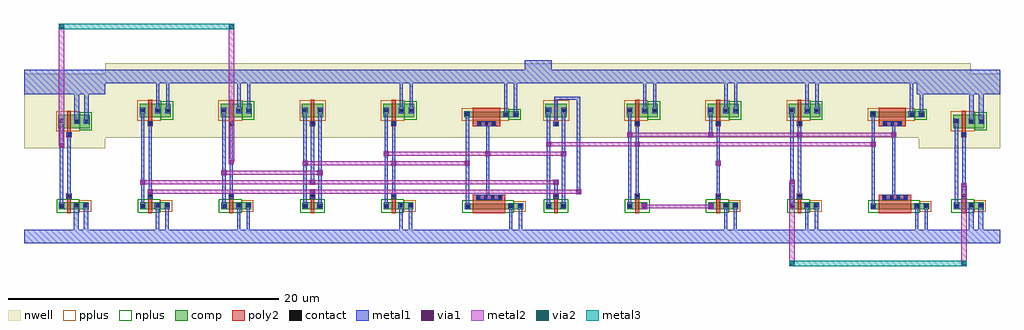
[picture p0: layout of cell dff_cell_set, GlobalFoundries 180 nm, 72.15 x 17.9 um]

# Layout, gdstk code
import gdstk
lib = gdstk.Library(unit=1e-6, precision=1e-09)
def R(c, l, rs):  # rectangles x0, y0, x1, y1
    for r in rs: c.add(gdstk.rectangle(r[:2], r[2:], *l))
def A(c, l, x, y, w, h, nx, ny, dx, dy):  # array of equal rectangles
    R(c, l, [(x+i*dx, y+j*dy, x+i*dx+w, y+j*dy+h) for i in range(nx) for j in range(ny)])
nwell = (21, 0)
comp = (22, 0)
poly2 = (30, 0)
pplus = (31, 0)
nplus = (32, 0)
contact = (33, 0)
metal1 = (34, 0)
via1 = (35, 0)
metal2 = (36, 0)
via2 = (38, 0)
metal3 = (42, 0)

gf180mcu_nfet_l_0_280_w_ = lib.new_cell('gf180mcu.nfet(L=0.280,W=0.500)')

c_gf180mcu_nfet_l_0_280_w_ = lib.new_cell('gf180mcu.nfet(L=0.280,W=1.000)')

gf180mcu_pfet_l_0_280_w_ = lib.new_cell('gf180mcu.pfet(L=0.280,W=1.000)')

c_gf180mcu_pfet_l_0_280_w_ = lib.new_cell('gf180mcu.pfet(L=0.280,W=2.000)')

dff_cell_set = lib.new_cell('dff_cell_set')
A(dff_cell_set, nwell, 43.85, 6.11, 3.69, 2.38, 3, 1, 6, 0)
R(dff_cell_set, nwell, [(0,4.5,6,10), (0,4.5,6,10), (0,4.5,6,10), (66.15,4.5,72.15,10), (66.15,4.5,72.15,10), (66.15,4.5,72.15,10), (6,5.3,70,10.8), (1.85,5.31,5.54,7.69), (1.85,5.31,5.54,7.69), (1.85,5.31,5.54,7.69), (68,5.31,71.69,7.69), (68,5.31,71.69,7.69), (68,5.31,71.69,7.69), (31.84,6.09,37.27,7.93), (61.84,6.09,67.27,7.93), (7.85,6.11,11.54,8.49), (13.85,6.11,17.54,8.49), (25.85,6.11,29.54,8.49), (20.1,6.36,22.56,8.24), (38.1,6.36,40.56,8.24)])
A(dff_cell_set, comp, 3, 0, 0.66, 0.5, 5, 1, 6, 0)
A(dff_cell_set, comp, 4.08, 0, 0.71, 0.5, 3, 1, 6, 0)
A(dff_cell_set, comp, 39, 0, 0.66, 0.5, 4, 1, 6, 0)
A(dff_cell_set, comp, 9, 6.8, 0.66, 1, 4, 1, 6, 0)
A(dff_cell_set, comp, 39, 6.8, 0.66, 1, 4, 1, 6, 0)
A(dff_cell_set, comp, 46.12, 6.8, 0.73, 1, 3, 1, 6, 0)
R(dff_cell_set, comp, [(32.58,-0.01,33,0.43), (35.78,-0.01,36.2,0.43), (36.2,-0.01,36.91,0.43), (62.58,-0.01,63,0.43), (65.78,-0.01,66.2,0.43), (66.2,-0.01,66.91,0.43), (2.58,0,3,0.5), (2.58,0,3,0.5), (2.58,0,3,0.5), (3,0,3.66,0.5), (3,0,3.66,0.5), (3.66,0,4.08,0.5), (3.66,0,4.08,0.5), (3.66,0,4.08,0.5), (4.08,0,4.79,0.5), (4.08,0,4.79,0.5), (8.58,0,9,0.5), (9.66,0,10.08,0.5), (14.58,0,15,0.5), (15.66,0,16.08,0.5), (20.58,0,21,0.5), (21.66,0,22.08,0.5), (26.58,0,27,0.5), (27.66,0,28.08,0.5), (28.08,0,28.79,0.5), (33,0,35.78,0.42), (38.58,0,39,0.5), (39.66,0,40.08,0.5), (44.58,0,45,0.5), (45.66,0,46.08,0.5), (50.58,0,51,0.5), (51.66,0,52.08,0.5), (52.08,0,52.79,0.5), (56.58,0,57,0.5), (57.66,0,58.08,0.5), (58.08,0,58.79,0.5), (63,0,65.78,0.42), (68.73,0,69.15,0.5), (68.73,0,69.15,0.5), (68.73,0,69.15,0.5), (69.15,0,69.81,0.5), (69.15,0,69.81,0.5), (69.15,0,69.81,0.5), (69.81,0,70.23,0.5), (69.81,0,70.23,0.5), (69.81,0,70.23,0.5), (70.23,0,70.94,0.5), (70.23,0,70.94,0.5), (70.23,0,70.94,0.5), (2.54,6,3,7), (2.54,6,3,7), (2.54,6,3,7), (3,6,3.66,7), (3,6,3.66,7), (3,6,3.66,7), (3.66,6,4.12,7), (3.66,6,4.12,7), (3.66,6,4.12,7), (4.12,6,4.85,7), (4.12,6,4.85,7), (4.12,6,4.85,7), (68.69,6,69.15,7), (68.69,6,69.15,7), (68.69,6,69.15,7), (69.15,6,69.81,7), (69.15,6,69.81,7), (69.15,6,69.81,7), (69.81,6,70.27,7), (69.81,6,70.27,7), (69.81,6,70.27,7), (70.27,6,71,7), (70.27,6,71,7), (70.27,6,71,7), (32.54,6.79,33,7.23), (35.38,6.79,35.84,7.23), (35.84,6.79,36.57,7.23), (62.54,6.79,63,7.23), (65.38,6.79,65.84,7.23), (65.84,6.79,66.57,7.23), (8.54,6.8,9,7.8), (9.66,6.8,10.12,7.8), (10.12,6.8,10.85,7.8), (14.54,6.8,15,7.8), (15.66,6.8,16.12,7.8), (16.12,6.8,16.85,7.8), (20.54,6.8,21,7.8), (21.66,6.8,22.12,7.8), (26.54,6.8,27,7.8), (27.66,6.8,28.12,7.8), (28.12,6.8,28.85,7.8), (33,6.8,35.38,7.22), (38.54,6.8,39,7.8), (39.66,6.8,40.12,7.8), (44.54,6.8,45,7.8), (45.66,6.8,46.12,7.8), (50.54,6.8,51,7.8), (51.66,6.8,52.12,7.8), (56.54,6.8,57,7.8), (57.66,6.8,58.12,7.8), (63,6.8,65.38,7.22)])
A(dff_cell_set, poly2, 3.19, -0.3, 0.28, 1.1, 5, 1, 6, 0)
A(dff_cell_set, poly2, 39.19, -0.3, 0.28, 1.1, 4, 1, 6, 0)
A(dff_cell_set, poly2, 3.15, 0.8, 0.36, 0.36, 5, 1, 6, 0)
A(dff_cell_set, poly2, 39.15, 0.8, 0.36, 0.36, 4, 1, 6, 0)
A(dff_cell_set, poly2, 9.14, 6.12, 0.38, 0.38, 4, 1, 6, 0)
A(dff_cell_set, poly2, 39.14, 6.12, 0.38, 0.38, 4, 1, 6, 0)
A(dff_cell_set, poly2, 9.19, 6.5, 0.28, 1.6, 4, 1, 6, 0)
A(dff_cell_set, poly2, 39.19, 6.5, 0.28, 1.6, 4, 1, 6, 0)
R(dff_cell_set, poly2, [(3.19,-0.3,3.47,0.8), (3.19,-0.3,3.47,0.8), (33.19,-0.3,35.59,0.72), (63.19,-0.3,65.59,0.72), (69.34,-0.3,69.62,0.8), (69.34,-0.3,69.62,0.8), (69.34,-0.3,69.62,0.8), (33.19,0.72,35.59,1.08), (63.19,0.72,65.59,1.08), (3.15,0.8,3.51,1.16), (3.15,0.8,3.51,1.16), (69.3,0.8,69.66,1.16), (69.3,0.8,69.66,1.16), (69.3,0.8,69.66,1.16), (3.14,5.32,3.52,5.7), (3.14,5.32,3.52,5.7), (3.14,5.32,3.52,5.7), (69.29,5.32,69.67,5.7), (69.29,5.32,69.67,5.7), (69.29,5.32,69.67,5.7), (3.19,5.7,3.47,7.3), (3.19,5.7,3.47,7.3), (3.19,5.7,3.47,7.3), (69.34,5.7,69.62,7.3), (69.34,5.7,69.62,7.3), (69.34,5.7,69.62,7.3), (33.19,6.12,35.19,6.5), (63.19,6.12,65.19,6.5), (33.19,6.5,35.19,7.52), (63.19,6.5,65.19,7.52)])
A(dff_cell_set, pplus, 4.08, -0.17, 0.88, 0.84, 3, 1, 6, 0)
A(dff_cell_set, pplus, 44.37, 6.56, 1.75, 1.48, 3, 1, 6, 0)
R(dff_cell_set, pplus, [(4.08,-0.17,4.96,0.67), (4.08,-0.17,4.96,0.67), (28.08,-0.17,28.96,0.67), (36.2,-0.17,37.08,0.59), (52.08,-0.17,52.96,0.67), (58.08,-0.17,58.96,0.67), (66.2,-0.17,67.08,0.59), (70.23,-0.17,71.11,0.67), (70.23,-0.17,71.11,0.67), (70.23,-0.17,71.11,0.67), (2.37,5.76,4.12,7.24), (2.37,5.76,4.12,7.24), (2.37,5.76,4.12,7.24), (68.52,5.76,70.27,7.24), (68.52,5.76,70.27,7.24), (68.52,5.76,70.27,7.24), (32.37,6.55,35.84,7.47), (62.37,6.55,65.84,7.47), (8.37,6.56,10.12,8.04), (14.37,6.56,16.12,8.04), (20.37,6.56,22.29,8.04), (26.37,6.56,28.12,8.04), (38.37,6.56,40.29,8.04)])
A(dff_cell_set, nplus, 2.41, -0.24, 1.67, 0.98, 3, 1, 6, 0)
A(dff_cell_set, nplus, 46.12, 6.63, 0.9, 1.34, 3, 1, 6, 0)
R(dff_cell_set, nplus, [(32.41,-0.25,36.2,0.67), (62.41,-0.25,66.2,0.67), (2.41,-0.24,4.08,0.74), (2.41,-0.24,4.08,0.74), (20.41,-0.24,22.25,0.74), (26.41,-0.24,28.08,0.74), (38.41,-0.24,40.25,0.74), (44.41,-0.24,46.25,0.74), (50.41,-0.24,52.08,0.74), (56.41,-0.24,58.08,0.74), (68.56,-0.24,70.23,0.74), (68.56,-0.24,70.23,0.74), (68.56,-0.24,70.23,0.74), (4.12,5.83,5.02,7.17), (4.12,5.83,5.02,7.17), (4.12,5.83,5.02,7.17), (70.27,5.83,71.17,7.17), (70.27,5.83,71.17,7.17), (70.27,5.83,71.17,7.17), (10.12,6.63,11.02,7.97), (16.12,6.63,17.02,7.97), (28.12,6.63,29.02,7.97), (35.84,6.63,36.74,7.39), (65.84,6.63,66.74,7.39)])
A(dff_cell_set, contact, 33.515, 0.79, 0.22, 0.22, 4, 1, 0.51, 0)
A(dff_cell_set, contact, 63.515, 0.79, 0.22, 0.22, 4, 1, 0.51, 0)
A(dff_cell_set, contact, 3.22, 0.87, 0.22, 0.22, 5, 1, 6, 0)
A(dff_cell_set, contact, 39.22, 0.87, 0.22, 0.22, 4, 2, 6, 5.33)
A(dff_cell_set, contact, 9.22, 6.2, 0.22, 0.22, 4, 1, 6, 0)
A(dff_cell_set, contact, 33.57, 6.2, 0.22, 0.22, 3, 1, 0.51, 0)
A(dff_cell_set, contact, 63.57, 6.2, 0.22, 0.22, 3, 1, 0.51, 0)
R(dff_cell_set, contact, [(32.68,0.1,32.9,0.32), (35.88,0.1,36.1,0.32), (36.59,0.1,36.81,0.32), (62.68,0.1,62.9,0.32), (65.88,0.1,66.1,0.32), (66.59,0.1,66.81,0.32), (2.68,0.14,2.9,0.36), (2.68,0.14,2.9,0.36), (2.68,0.14,2.9,0.36), (3.76,0.14,3.98,0.36), (3.76,0.14,3.98,0.36), (3.76,0.14,3.98,0.36), (4.47,0.14,4.69,0.36), (4.47,0.14,4.69,0.36), (4.47,0.14,4.69,0.36), (8.68,0.14,8.9,0.36), (9.76,0.14,9.98,0.36), (10.47,0.14,10.69,0.36), (14.68,0.14,14.9,0.36), (15.76,0.14,15.98,0.36), (16.47,0.14,16.69,0.36), (20.68,0.14,20.9,0.36), (21.76,0.14,21.98,0.36), (26.68,0.14,26.9,0.36), (27.76,0.14,27.98,0.36), (28.47,0.14,28.69,0.36), (38.68,0.14,38.9,0.36), (39.76,0.14,39.98,0.36), (44.68,0.14,44.9,0.36), (45.76,0.14,45.98,0.36), (50.68,0.14,50.9,0.36), (51.76,0.14,51.98,0.36), (52.47,0.14,52.69,0.36), (56.68,0.14,56.9,0.36), (57.76,0.14,57.98,0.36), (58.47,0.14,58.69,0.36), (68.83,0.14,69.05,0.36), (68.83,0.14,69.05,0.36), (68.83,0.14,69.05,0.36), (69.91,0.14,70.13,0.36), (69.91,0.14,70.13,0.36), (69.91,0.14,70.13,0.36), (70.62,0.14,70.84,0.36), (70.62,0.14,70.84,0.36), (70.62,0.14,70.84,0.36), (3.22,0.87,3.44,1.09), (3.22,0.87,3.44,1.09), (69.37,0.87,69.59,1.09), (69.37,0.87,69.59,1.09), (69.37,0.87,69.59,1.09), (3.22,5.4,3.44,5.62), (3.22,5.4,3.44,5.62), (3.22,5.4,3.44,5.62), (69.37,5.4,69.59,5.62), (69.37,5.4,69.59,5.62), (69.37,5.4,69.59,5.62), (2.66,6.39,2.88,6.61), (2.66,6.39,2.88,6.61), (2.66,6.39,2.88,6.61), (3.78,6.39,4,6.61), (3.78,6.39,4,6.61), (3.78,6.39,4,6.61), (4.51,6.39,4.73,6.61), (4.51,6.39,4.73,6.61), (4.51,6.39,4.73,6.61), (68.81,6.39,69.03,6.61), (68.81,6.39,69.03,6.61), (68.81,6.39,69.03,6.61), (69.93,6.39,70.15,6.61), (69.93,6.39,70.15,6.61), (69.93,6.39,70.15,6.61), (70.66,6.39,70.88,6.61), (70.66,6.39,70.88,6.61), (70.66,6.39,70.88,6.61), (32.66,6.9,32.88,7.12), (35.5,6.9,35.72,7.12), (36.23,6.9,36.45,7.12), (62.66,6.9,62.88,7.12), (65.5,6.9,65.72,7.12), (66.23,6.9,66.45,7.12), (8.66,7.19,8.88,7.41), (9.78,7.19,10,7.41), (10.51,7.19,10.73,7.41), (14.66,7.19,14.88,7.41), (15.78,7.19,16,7.41), (16.51,7.19,16.73,7.41), (20.66,7.19,20.88,7.41), (21.78,7.19,22,7.41), (26.66,7.19,26.88,7.41), (27.78,7.19,28,7.41), (28.51,7.19,28.73,7.41), (38.66,7.19,38.88,7.41), (39.78,7.19,40,7.41), (44.66,7.19,44.88,7.41), (45.78,7.19,46,7.41), (46.51,7.19,46.73,7.41), (50.66,7.19,50.88,7.41), (51.78,7.19,52,7.41), (52.51,7.19,52.73,7.41), (56.66,7.19,56.88,7.41), (57.78,7.19,58,7.41), (58.51,7.19,58.73,7.41)])
A(dff_cell_set, metal1, 8.66, 0.25, 0.24, 7.05, 3, 1, 6, 0)
A(dff_cell_set, metal1, 3.14, 0.79, 0.38, 0.38, 5, 1, 6, 0)
A(dff_cell_set, metal1, 39.14, 0.79, 0.38, 0.38, 4, 2, 6, 5.33)
A(dff_cell_set, metal1, 9.14, 6.12, 0.38, 0.38, 4, 1, 6, 0)
R(dff_cell_set, metal1, [(0,-2.5,72.15,-1.5), (0,-2.5,6,-1.5), (0,-2.5,6,-1.5), (0,-2.5,6,-1.5), (3.69,-2.5,4.05,0.25), (3.69,-2.5,4.05,0.25), (3.69,-2.5,4.05,0.25), (4.4,-2.5,4.76,0.25), (4.4,-2.5,4.76,0.25), (4.4,-2.5,4.76,0.25), (6,-2.5,70,-1.5), (9.75,-2.5,9.99,0.25), (10.46,-2.5,10.7,0.25), (15.75,-2.5,15.99,0.25), (16.46,-2.5,16.7,0.25), (27.75,-2.5,27.99,0.25), (28.46,-2.5,28.7,0.25), (35.87,-2.5,36.11,0.21), (36.58,-2.5,36.82,0.21), (51.75,-2.5,51.99,0.25), (52.46,-2.5,52.7,0.25), (57.75,-2.5,57.99,0.25), (58.46,-2.5,58.7,0.25), (65.87,-2.5,66.11,0.21), (66.15,-2.5,72.15,-1.5), (66.15,-2.5,72.15,-1.5), (66.15,-2.5,72.15,-1.5), (66.58,-2.5,66.82,0.21), (69.84,-2.5,70.2,0.25), (69.84,-2.5,70.2,0.25), (69.84,-2.5,70.2,0.25), (70.55,-2.5,70.91,0.25), (70.55,-2.5,70.91,0.25), (70.55,-2.5,70.91,0.25), (45.68,0.01,46.06,0.39), (50.6,0.01,50.98,0.39), (32.6,0.02,32.98,0.4), (35.8,0.02,36.18,0.4), (36.51,0.02,36.89,0.4), (62.6,0.02,62.98,0.4), (65.8,0.02,66.18,0.4), (66.51,0.02,66.89,0.4), (2.6,0.06,2.98,0.44), (2.6,0.06,2.98,0.44), (2.6,0.06,2.98,0.44), (3.68,0.06,4.06,0.44), (3.68,0.06,4.06,0.44), (3.68,0.06,4.06,0.44), (4.39,0.06,4.77,0.44), (4.39,0.06,4.77,0.44), (4.39,0.06,4.77,0.44), (8.6,0.06,8.98,0.44), (9.68,0.06,10.06,0.44), (10.39,0.06,10.77,0.44), (14.6,0.06,14.98,0.44), (15.68,0.06,16.06,0.44), (16.39,0.06,16.77,0.44), (20.6,0.06,20.98,0.44), (21.68,0.06,22.06,0.44), (26.6,0.06,26.98,0.44), (27.68,0.06,28.06,0.44), (28.39,0.06,28.77,0.44), (38.6,0.06,38.98,0.44), (39.68,0.06,40.06,0.44), (44.6,0.06,44.98,0.44), (45.68,0.06,46.06,0.44), (50.6,0.06,50.98,0.44), (51.68,0.06,52.06,0.44), (52.39,0.06,52.77,0.44), (56.6,0.06,56.98,0.44), (57.68,0.06,58.06,0.44), (58.39,0.06,58.77,0.44), (68.75,0.06,69.13,0.44), (68.75,0.06,69.13,0.44), (68.75,0.06,69.13,0.44), (69.83,0.06,70.21,0.44), (69.83,0.06,70.21,0.44), (69.83,0.06,70.21,0.44), (70.54,0.06,70.92,0.44), (70.54,0.06,70.92,0.44), (70.54,0.06,70.92,0.44), (2.64,0.12,2.9,6.63), (2.64,0.12,2.9,6.63), (2.64,0.12,2.9,6.63), (68.79,0.12,69.05,6.63), (68.79,0.12,69.05,6.63), (68.79,0.12,69.05,6.63), (45.75,0.2,45.99,0.25), (50.67,0.2,50.91,0.25), (32.66,0.21,32.9,7.01), (62.66,0.21,62.9,7.01), (21.76,0.25,22,7.3), (26.66,0.25,26.9,7.3), (38.66,0.25,38.9,7.3), (39.76,0.25,40,7.3), (44.66,0.25,44.9,7.3), (56.66,0.25,56.9,7.3), (33.435,0.71,35.345,1.09), (63.435,0.71,65.345,1.09), (3.14,0.79,3.52,1.17), (3.14,0.79,3.52,1.17), (69.29,0.79,69.67,1.17), (69.29,0.79,69.67,1.17), (69.29,0.79,69.67,1.17), (3.2,0.85,3.46,5.64), (3.2,0.85,3.46,5.64), (3.2,0.85,3.46,5.64), (69.35,0.85,69.61,5.64), (69.35,0.85,69.61,5.64), (69.35,0.85,69.61,5.64), (34.17,0.9,34.41,6.31), (64.17,0.9,64.41,6.31), (9.21,0.98,9.45,6.31), (15.21,0.98,15.45,6.31), (21.21,0.98,21.45,1.3), (27.21,0.98,27.45,6.31), (39.21,0.98,39.45,2), (45.21,0.98,45.45,4.8), (51.21,0.98,51.45,3.4), (57.21,0.98,57.45,6.31), (9.14,1.11,9.52,1.49), (21.14,1.11,21.52,1.49), (40.81,1.11,41.19,1.49), (40.88,1.3,41.12,8.32), (69.29,1.56,69.67,1.94), (8.59,1.81,8.97,2.19), (21.14,1.81,21.52,2.19), (39.14,1.81,39.52,2.19), (56.59,1.81,56.97,2.19), (21.21,2,21.45,6.31), (14.59,2.51,14.97,2.89), (21.69,2.51,22.07,2.89), (20.59,3.21,20.97,3.59), (27.14,3.21,27.52,3.59), (32.59,3.21,32.97,3.59), (51.14,3.21,51.52,3.59), (51.14,3.21,51.52,3.59), (15.14,3.31,15.52,3.69), (51.21,3.4,51.45,6.31), (26.59,3.91,26.97,4.29), (34.1,3.91,34.48,4.29), (39.69,3.91,40.07,4.29), (2.59,4.56,2.97,4.94), (38.59,4.61,38.97,4.99), (45.14,4.61,45.52,4.99), (45.14,4.61,45.52,4.99), (62.59,4.61,62.97,4.99), (45.21,4.8,45.45,6.31), (44.59,5.31,44.97,5.69), (50.58,5.31,50.96,5.69), (57.14,5.31,57.52,5.69), (64.1,5.31,64.48,5.69), (3.14,5.32,3.52,5.7), (3.14,5.32,3.52,5.7), (3.14,5.32,3.52,5.7), (69.29,5.32,69.67,5.7), (69.29,5.32,69.67,5.7), (69.29,5.32,69.67,5.7), (50.65,5.5,50.89,7.3), (33.49,6.12,34.89,6.5), (63.49,6.12,64.89,6.5), (2.58,6.31,2.96,6.69), (2.58,6.31,2.96,6.69), (2.58,6.31,2.96,6.69), (3.7,6.31,4.08,6.69), (3.7,6.31,4.08,6.69), (3.7,6.31,4.08,6.69), (4.43,6.31,4.81,6.69), (4.43,6.31,4.81,6.69), (4.43,6.31,4.81,6.69), (39.21,6.31,39.45,8.32), (68.73,6.31,69.11,6.69), (68.73,6.31,69.11,6.69), (68.73,6.31,69.11,6.69), (69.85,6.31,70.23,6.69), (69.85,6.31,70.23,6.69), (69.85,6.31,70.23,6.69), (70.58,6.31,70.96,6.69), (70.58,6.31,70.96,6.69), (70.58,6.31,70.96,6.69), (3.71,6.5,4.07,9.5), (3.71,6.5,4.07,9.5), (3.71,6.5,4.07,9.5), (4.44,6.5,4.8,9.5), (4.44,6.5,4.8,9.5), (4.44,6.5,4.8,9.5), (69.86,6.5,70.22,9.5), (69.86,6.5,70.22,9.5), (69.86,6.5,70.22,9.5), (70.59,6.5,70.95,9.5), (70.59,6.5,70.95,9.5), (70.59,6.5,70.95,9.5), (32.58,6.82,32.96,7.2), (35.42,6.82,35.8,7.2), (36.15,6.82,36.53,7.2), (62.58,6.82,62.96,7.2), (65.42,6.82,65.8,7.2), (66.15,6.82,66.53,7.2), (35.49,7.01,35.73,10.3), (36.22,7.01,36.46,10.3), (65.49,7.01,65.73,10.3), (66.22,7.01,66.46,10.3), (8.58,7.11,8.96,7.49), (9.7,7.11,10.08,7.49), (10.43,7.11,10.81,7.49), (14.58,7.11,14.96,7.49), (15.7,7.11,16.08,7.49), (16.43,7.11,16.81,7.49), (20.58,7.11,20.96,7.49), (21.7,7.11,22.08,7.49), (26.58,7.11,26.96,7.49), (27.7,7.11,28.08,7.49), (28.43,7.11,28.81,7.49), (38.58,7.11,38.96,7.49), (39.7,7.11,40.08,7.49), (44.58,7.11,44.96,7.49), (45.7,7.11,46.08,7.49), (46.43,7.11,46.81,7.49), (50.58,7.11,50.96,7.49), (51.7,7.11,52.08,7.49), (52.43,7.11,52.81,7.49), (56.58,7.11,56.96,7.49), (57.7,7.11,58.08,7.49), (58.43,7.11,58.81,7.49), (9.77,7.3,10.01,10.3), (10.5,7.3,10.74,10.3), (15.77,7.3,16.01,10.3), (16.5,7.3,16.74,10.3), (27.77,7.3,28.01,10.3), (28.5,7.3,28.74,10.3), (45.77,7.3,46.01,10.3), (46.5,7.3,46.74,10.3), (51.77,7.3,52.01,10.3), (52.5,7.3,52.74,10.3), (57.77,7.3,58.01,10.3), (58.5,7.3,58.74,10.3), (39.21,8.08,41.12,8.32), (0,8.5,6,9.5), (0,8.5,6,9.5), (0,8.5,6,9.5), (0,8.5,6,10.3), (66,8.5,72.15,10.3), (66.15,8.5,72.15,9.5), (66.15,8.5,72.15,9.5), (66.15,8.5,72.15,9.5), (6,9.3,66,10.3), (6,9.3,70,10.3), (37,9.3,39,11)])
R(dff_cell_set, via1, [(45.74,0.07,46,0.33), (50.66,0.07,50.92,0.33), (9.2,1.17,9.46,1.43), (21.2,1.17,21.46,1.43), (40.87,1.17,41.13,1.43), (69.35,1.62,69.61,1.88), (8.65,1.87,8.91,2.13), (21.2,1.87,21.46,2.13), (39.2,1.87,39.46,2.13), (56.65,1.87,56.91,2.13), (14.65,2.57,14.91,2.83), (21.75,2.57,22.01,2.83), (20.65,3.27,20.91,3.53), (27.2,3.27,27.46,3.53), (32.65,3.27,32.91,3.53), (51.2,3.27,51.46,3.53), (51.2,3.27,51.46,3.53), (15.2,3.37,15.46,3.63), (26.65,3.97,26.91,4.23), (34.16,3.97,34.42,4.23), (39.75,3.97,40.01,4.23), (2.65,4.62,2.91,4.88), (38.65,4.67,38.91,4.93), (45.2,4.67,45.46,4.93), (45.2,4.67,45.46,4.93), (62.65,4.67,62.91,4.93), (44.65,5.37,44.91,5.63), (50.64,5.37,50.9,5.63), (57.2,5.37,57.46,5.63), (64.16,5.37,64.42,5.63)])
R(dff_cell_set, metal2, [(56.58,-4.2,56.98,-3.8), (69.28,-4.2,69.68,-3.8), (56.58,-4,56.98,2), (69.28,-4,69.68,1.75), (45.68,0.01,46.06,0.39), (50.6,0.01,50.98,0.39), (45.68,0.06,50.98,0.34), (9.14,1.11,9.52,1.49), (21.14,1.11,21.52,1.49), (40.81,1.11,41.19,1.49), (9.14,1.16,41.19,1.44), (69.29,1.56,69.67,1.94), (8.59,1.81,8.97,2.19), (21.14,1.81,21.52,2.19), (39.14,1.81,39.52,2.19), (56.59,1.81,56.97,2.19), (8.59,1.86,39.52,2.14), (14.59,2.51,14.97,2.89), (21.69,2.51,22.07,2.89), (14.59,2.56,22.07,2.84), (20.59,3.21,20.97,3.59), (27.14,3.21,27.52,3.59), (32.59,3.21,32.97,3.59), (51.14,3.21,51.52,3.59), (51.14,3.21,51.52,3.59), (20.59,3.26,32.97,3.54), (51.14,3.26,51.52,3.54), (15.14,3.31,15.52,3.69), (15.13,3.5,15.53,13.5), (26.59,3.91,26.97,4.29), (34.1,3.91,34.48,4.29), (39.69,3.91,40.07,4.29), (26.59,3.96,40.07,4.24), (2.59,4.56,2.97,4.94), (38.59,4.61,38.97,4.99), (45.14,4.61,45.52,4.99), (45.14,4.61,45.52,4.99), (62.59,4.61,62.97,4.99), (38.59,4.66,62.97,4.94), (2.58,4.75,2.98,13.5), (44.59,5.31,44.97,5.69), (50.58,5.31,50.96,5.69), (57.14,5.31,57.52,5.69), (64.1,5.31,64.48,5.69), (44.59,5.36,64.48,5.64), (2.58,13.3,2.98,13.7), (15.13,13.3,15.53,13.7)])
R(dff_cell_set, via2, [(56.65,-4.13,56.91,-3.87), (69.35,-4.13,69.61,-3.87), (2.65,13.37,2.91,13.63), (15.2,13.37,15.46,13.63)])
R(dff_cell_set, metal3, [(56.58,-4.2,56.98,-3.8), (56.58,-4.2,69.68,-3.8), (69.28,-4.2,69.68,-3.8), (2.58,13.3,2.98,13.7), (2.58,13.3,15.53,13.7), (15.13,13.3,15.53,13.7)])
dff_cell_set.add(gdstk.Reference(gf180mcu_nfet_l_0_280_w_, (0,0)))
dff_cell_set.add(gdstk.Reference(c_gf180mcu_nfet_l_0_280_w_, (0,0)))
dff_cell_set.add(gdstk.Reference(gf180mcu_pfet_l_0_280_w_, (0,0)))
dff_cell_set.add(gdstk.Reference(c_gf180mcu_pfet_l_0_280_w_, (0,0)))

lib.write_gds('dff_cell_set.gds')
